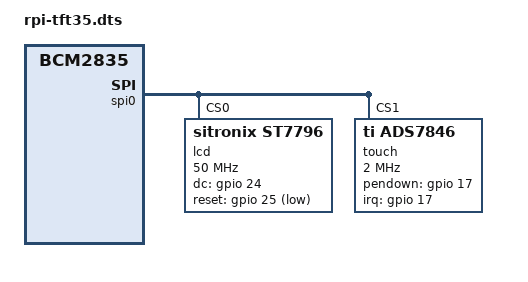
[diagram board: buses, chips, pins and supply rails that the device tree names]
/dts-v1/;
/plugin/;

/ {
	compatible = "brcm,bcm2835";
	fragment@0 {
		target = <&spi0>;
		 __overlay__ {
			#address-cells = <1>;
   			#size-cells = <0>;
			status = "okay";
			
			lcd@0{
				compatible = "sitronix,st7796";
				reg = <0>;
				spi-max-frequency = <50000000>;
				status = "okay";
				dc-gpios = <&gpio 24 0>;
				reset-gpios = <&gpio 25 1>;

				rotate = <270>;
				buswidth = <8>;
				regwidth = <10>;
				fps = <30>;
				bgr = <0> ;
				debug = <0x00>;
			};
			
			touch@1{
				compatible = "ti,ads7846";
				reg = <0x1>;
				spi-max-frequency = <2000000>;
				status = "okay";

				interrupts = <17 0x02>;
				interrupt-parent = <&gpio>;
				pendown-gpio = <&gpio 17 0x00>;
			};


		};
	};
	
	fragment@1 {
		target = <&spi0>;
		__overlay__ {
			status = "okay";
			#address-cells = <1>;
			#size-cells = <0>;
			spidev@0 {
				status = "disabled";
				reg = <0x0>;
			};

			spidev@1 {
				status = "disabled";
				reg = <0x1>;
			};
		};
	};

};
